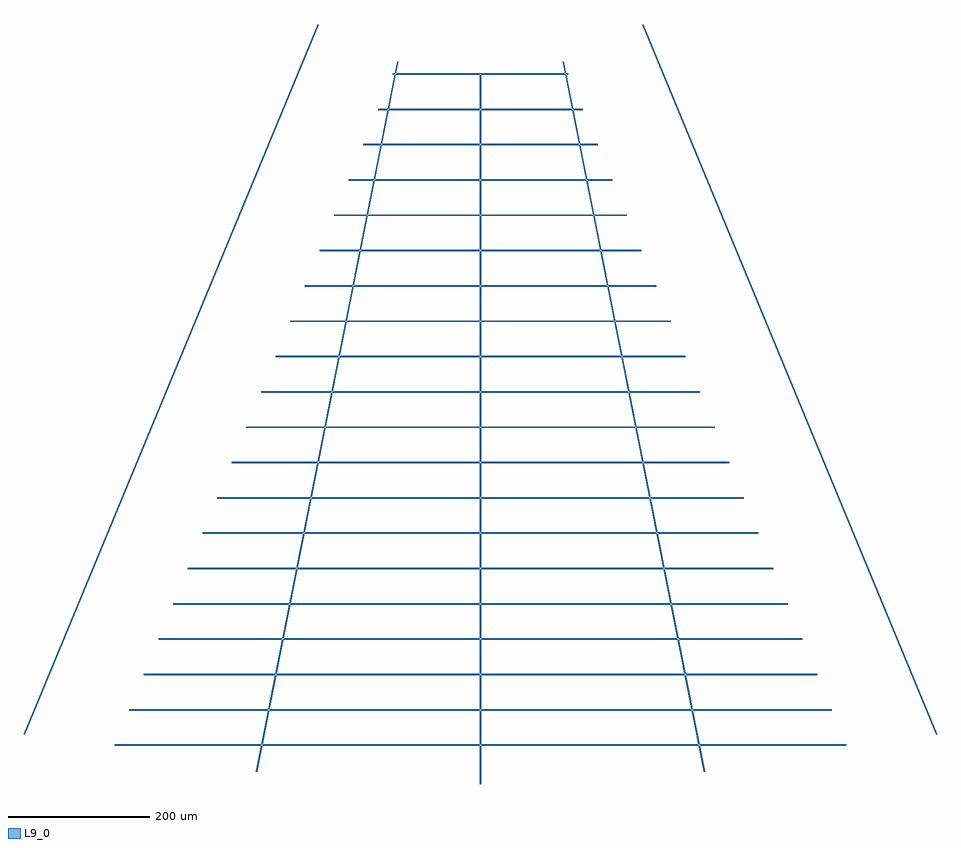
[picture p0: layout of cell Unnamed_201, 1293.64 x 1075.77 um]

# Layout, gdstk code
from math import pi, radians
import gdstk
lib = gdstk.Library(unit=1e-6, precision=1e-09)
def R(c, l, rs):  # rectangles x0, y0, x1, y1
    for r in rs: c.add(gdstk.rectangle(r[:2], r[2:], *l))
L9_0 = (9, 0)

unnamed_226 = lib.new_cell('Unnamed_226')
R(unnamed_226, L9_0, [(0,-1,1087.804,1)])

unnamed_225 = lib.new_cell('Unnamed_225')
R(unnamed_225, L9_0, [(0,-1,1024.689,1)])

unnamed_214 = lib.new_cell('Unnamed_214')
R(unnamed_214, L9_0, [(0,-1,745.584,1)])

unnamed_224 = lib.new_cell('Unnamed_224')
R(unnamed_224, L9_0, [(0,-1,1005,1)])

unnamed_223 = lib.new_cell('Unnamed_223')
R(unnamed_223, L9_0, [(0,-1,1024.689,1)])

unnamed_221 = lib.new_cell('Unnamed_221')
R(unnamed_221, L9_0, [(0,-1,1035.534,1)])

unnamed_220 = lib.new_cell('Unnamed_220')
R(unnamed_220, L9_0, [(0,-1,994.113,1)])

unnamed_219 = lib.new_cell('Unnamed_219')
R(unnamed_219, L9_0, [(0,-1,952.691,1)])

unnamed_218 = lib.new_cell('Unnamed_218')
R(unnamed_218, L9_0, [(0,-1,911.27,1)])

unnamed_202 = lib.new_cell('Unnamed_202')
R(unnamed_202, L9_0, [(0,-1,248.528,1)])

unnamed_212 = lib.new_cell('Unnamed_212')
R(unnamed_212, L9_0, [(0,-1,662.742,1)])

unnamed_211 = lib.new_cell('Unnamed_211')
R(unnamed_211, L9_0, [(0,-1,621.32,1)])

unnamed_210 = lib.new_cell('Unnamed_210')
R(unnamed_210, L9_0, [(0,-1,579.899,1)])

unnamed_209 = lib.new_cell('Unnamed_209')
R(unnamed_209, L9_0, [(0,-1,538.478,1)])

unnamed_222 = lib.new_cell('Unnamed_222')
R(unnamed_222, L9_0, [(0,-1,1087.804,1)])

unnamed_217 = lib.new_cell('Unnamed_217')
R(unnamed_217, L9_0, [(0,-1,869.848,1)])

unnamed_207 = lib.new_cell('Unnamed_207')
R(unnamed_207, L9_0, [(0,-1,455.635,1)])

unnamed_208 = lib.new_cell('Unnamed_208')
R(unnamed_208, L9_0, [(0,-1,497.056,1)])

unnamed_216 = lib.new_cell('Unnamed_216')
R(unnamed_216, L9_0, [(0,-1,828.427,1)])

unnamed_206 = lib.new_cell('Unnamed_206')
R(unnamed_206, L9_0, [(0,-1,414.214,1)])

unnamed_215 = lib.new_cell('Unnamed_215')
R(unnamed_215, L9_0, [(0,-1,787.006,1)])

unnamed_205 = lib.new_cell('Unnamed_205')
R(unnamed_205, L9_0, [(0,-1,372.792,1)])

unnamed_204 = lib.new_cell('Unnamed_204')
R(unnamed_204, L9_0, [(0,-1,331.371,1)])

unnamed_213 = lib.new_cell('Unnamed_213')
R(unnamed_213, L9_0, [(0,-1,704.163,1)])

unnamed_203 = lib.new_cell('Unnamed_203')
R(unnamed_203, L9_0, [(0,-1,289.949,1)])

unnamed_201 = lib.new_cell('Unnamed_201')
unnamed_201.add(gdstk.Reference(unnamed_226, (229.61,-229.61), rotation=radians(292.5)))
unnamed_201.add(gdstk.Reference(unnamed_225, (117.054,-282.594), rotation=radians(281.25)))
unnamed_201.add(gdstk.Reference(unnamed_214, (-372.792,-900)))
unnamed_201.add(gdstk.Reference(unnamed_224, (0,-300), rotation=3*pi/2))
unnamed_201.add(gdstk.Reference(unnamed_223, (-117.054,-282.594), rotation=radians(258.75)))
unnamed_201.add(gdstk.Reference(unnamed_221, (-517.767,-1250)))
unnamed_201.add(gdstk.Reference(unnamed_220, (-497.056,-1200)))
unnamed_201.add(gdstk.Reference(unnamed_219, (-476.346,-1150)))
unnamed_201.add(gdstk.Reference(unnamed_218, (-455.635,-1100)))
unnamed_201.add(gdstk.Reference(unnamed_202, (-124.264,-300)))
unnamed_201.add(gdstk.Reference(unnamed_212, (-331.371,-800)))
unnamed_201.add(gdstk.Reference(unnamed_211, (-310.66,-750)))
unnamed_201.add(gdstk.Reference(unnamed_210, (-289.949,-700)))
unnamed_201.add(gdstk.Reference(unnamed_209, (-269.239,-650)))
unnamed_201.add(gdstk.Reference(unnamed_222, (-229.61,-229.61), rotation=radians(247.5)))
unnamed_201.add(gdstk.Reference(unnamed_217, (-434.924,-1050)))
unnamed_201.add(gdstk.Reference(unnamed_207, (-227.817,-550)))
unnamed_201.add(gdstk.Reference(unnamed_208, (-248.528,-600)))
unnamed_201.add(gdstk.Reference(unnamed_216, (-414.214,-1000)))
unnamed_201.add(gdstk.Reference(unnamed_206, (-207.107,-500)))
unnamed_201.add(gdstk.Reference(unnamed_215, (-393.503,-950)))
unnamed_201.add(gdstk.Reference(unnamed_205, (-186.396,-450)))
unnamed_201.add(gdstk.Reference(unnamed_204, (-165.685,-400)))
unnamed_201.add(gdstk.Reference(unnamed_213, (-352.082,-850)))
unnamed_201.add(gdstk.Reference(unnamed_203, (-144.975,-350)))

lib.write_gds('Unnamed_201.gds')
